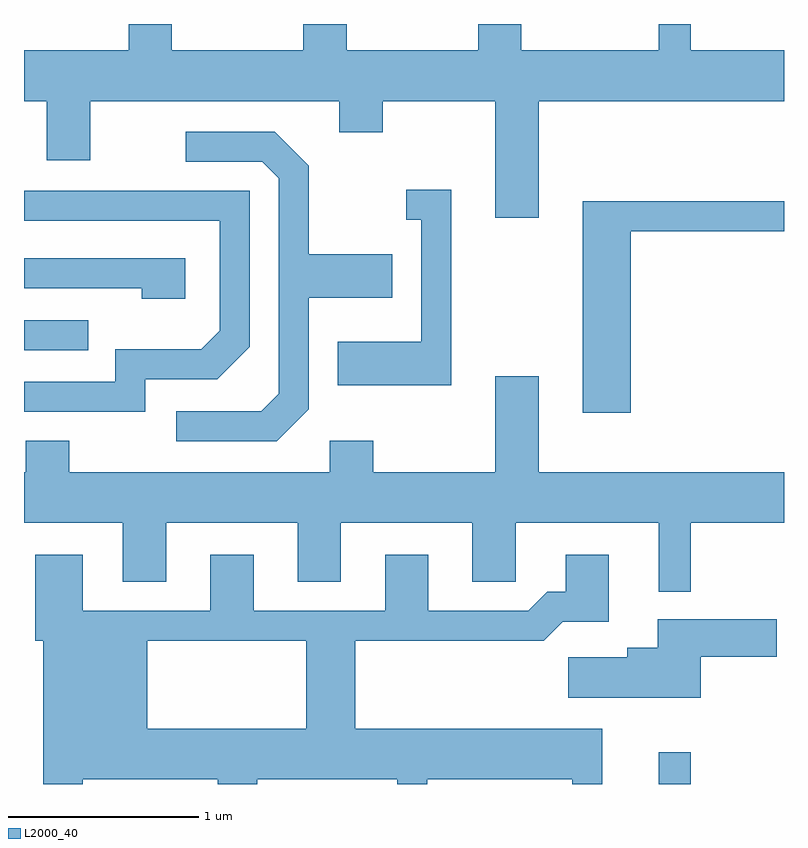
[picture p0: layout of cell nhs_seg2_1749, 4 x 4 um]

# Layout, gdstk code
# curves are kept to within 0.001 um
import gdstk
lib = gdstk.Library(unit=1e-6, precision=1e-09)
def R(c, l, rs):  # rectangles x0, y0, x1, y1
    for r in rs: c.add(gdstk.rectangle(r[:2], r[2:], *l))
def P(c, l, *ps):  # polygons
    for p in ps: c.add(gdstk.Polygon(p, *l))
L2000_40 = (2000, 40)

nhs_seg2_1749 = lib.new_cell('nhs_seg2_1749')
R(nhs_seg2_1749, L2000_40, [(238.951,1075.802,239.119,1075.968), (235.611,1078.086,235.948,1078.244)])
P(nhs_seg2_1749, L2000_40, [(238.319,1079.396),(239.611,1079.396),(239.611,1079.664),(239.119,1079.664),(239.119,1079.802),(238.951,1079.802),(238.951,1079.664),(238.229,1079.664),(238.229,1079.802),(238.001,1079.802),(238.001,1079.664),(237.309,1079.664),(237.309,1079.802),(237.081,1079.802),(237.081,1079.664),(236.389,1079.664),(236.389,1079.802),(236.161,1079.802),(236.161,1079.664),(235.611,1079.664),(235.611,1079.396),(235.731,1079.396),(235.731,1079.086),(235.959,1079.086),(235.959,1079.396),(237.271,1079.396),(237.271,1079.231),(237.499,1079.231),(237.499,1079.396),(238.091,1079.396),(238.091,1078.781),(238.319,1078.781)],
  [(237.109,1077.774),(237.109,1078.361),(237.549,1078.361),(237.549,1078.589),(237.109,1078.589),(237.109,1079.057),(236.932,1079.234),(236.463,1079.234),(236.463,1079.076),(236.864,1079.076),(236.951,1078.989),(236.951,1077.857),(236.859,1077.764),(236.413,1077.764),(236.413,1077.606),(236.942,1077.606)],
  [(237.859,1078.929),(237.623,1078.929),(237.623,1078.771),(237.701,1078.771),(237.701,1078.129),(237.261,1078.129),(237.261,1077.901),(237.859,1077.901)],
  [(236.249,1077.931),(236.627,1077.931),(236.799,1078.104),(236.799,1078.924),(235.611,1078.924),(235.611,1078.766),(236.641,1078.766),(236.641,1078.187),(236.544,1078.089),(236.091,1078.089),(236.091,1077.919),(235.611,1077.919),(235.611,1077.761),(236.249,1077.761)],
  [(238.804,1078.711),(239.611,1078.711),(239.611,1078.869),(238.551,1078.869),(238.551,1077.756),(238.804,1077.756)],
  [(236.459,1078.569),(235.611,1078.569),(235.611,1078.411),(236.231,1078.411),(236.231,1078.356),(236.459,1078.356)],
  [(235.849,1077.609),(235.621,1077.609),(235.621,1077.444),(235.611,1077.444),(235.611,1077.176),(236.131,1077.176),(236.131,1076.866),(236.359,1076.866),(236.359,1077.176),(237.051,1077.176),(237.051,1076.866),(237.279,1076.866),(237.279,1077.176),(237.971,1077.176),(237.971,1076.866),(238.199,1076.866),(238.199,1077.176),(238.951,1077.176),(238.951,1076.813),(239.119,1076.813),(239.119,1077.176),(239.611,1077.176),(239.611,1077.444),(238.319,1077.444),(238.319,1077.949),(238.091,1077.949),(238.091,1077.444),(237.449,1077.444),(237.449,1077.609),(237.221,1077.609),(237.221,1077.444),(235.849,1077.444)],
  [(235.919,1075.802),(235.919,1075.826),(236.631,1075.826),(236.631,1075.802),(236.839,1075.802),(236.839,1075.826),(237.576,1075.826),(237.576,1075.802),(237.734,1075.802),(237.734,1075.826),(238.496,1075.826),(238.496,1075.802),(238.654,1075.802),(238.654,1076.094),(237.354,1076.094),(237.354,1076.556),(238.347,1076.556),(238.447,1076.656),(238.689,1076.656),(238.689,1077.009),(238.461,1077.009),(238.461,1076.814),(238.364,1076.814),(238.264,1076.714),(237.739,1076.714),(237.739,1077.009),(237.511,1077.009),(237.511,1076.714),(236.819,1076.714),(236.819,1077.009),(236.591,1077.009),(236.591,1076.714),(235.919,1076.714),(235.919,1077.009),(235.671,1077.009),(235.671,1076.556),(235.711,1076.556),(235.711,1076.094),(236.259,1076.094),(236.259,1076.556),(237.096,1076.556),(237.096,1076.094),(235.711,1076.094),(235.711,1075.802)],
  [(239.174,1076.471),(239.574,1076.471),(239.574,1076.669),(238.946,1076.669),(238.946,1076.519),(238.786,1076.519),(238.786,1076.469),(238.476,1076.469),(238.476,1076.256),(239.174,1076.256)])

lib.write_gds('nhs_seg2_1749.gds')
